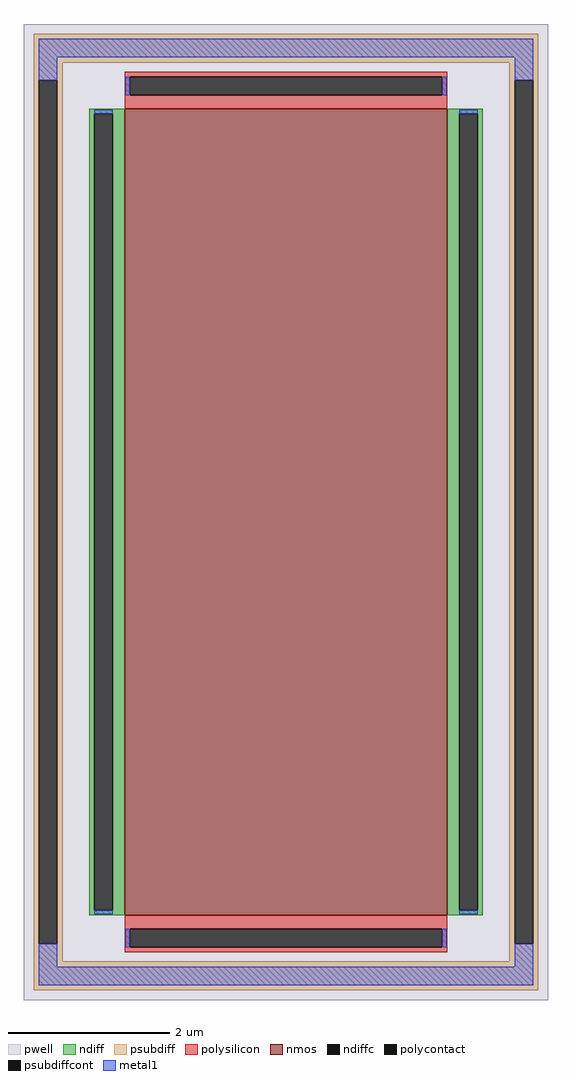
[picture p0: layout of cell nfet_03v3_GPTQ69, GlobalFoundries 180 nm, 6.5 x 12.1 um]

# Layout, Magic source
magic
tech gf180mcuD
magscale 1 10
<< pwell >>
rect -650 -1210 650 1210
<< nmos >>
rect -400 -1000 400 1000
<< ndiff >>
rect -488 987 -400 1000
rect -488 -987 -475 987
rect -429 -987 -400 987
rect -488 -1000 -400 -987
rect 400 987 488 1000
rect 400 -987 429 987
rect 475 -987 488 987
rect 400 -1000 488 -987
<< ndiffc >>
rect -475 -987 -429 987
rect 429 -987 475 987
<< psubdiff >>
rect -626 1114 626 1186
rect -626 1070 -554 1114
rect -626 -1070 -613 1070
rect -567 -1070 -554 1070
rect 554 1070 626 1114
rect -626 -1114 -554 -1070
rect 554 -1070 567 1070
rect 613 -1070 626 1070
rect 554 -1114 626 -1070
rect -626 -1186 626 -1114
<< psubdiffcont >>
rect -613 -1070 -567 1070
rect 567 -1070 613 1070
<< polysilicon >>
rect -400 1079 400 1092
rect -400 1033 -387 1079
rect 387 1033 400 1079
rect -400 1000 400 1033
rect -400 -1033 400 -1000
rect -400 -1079 -387 -1033
rect 387 -1079 400 -1033
rect -400 -1092 400 -1079
<< polycontact >>
rect -387 1033 387 1079
rect -387 -1079 387 -1033
<< metal1 >>
rect -613 1127 613 1173
rect -613 1070 -567 1127
rect -398 1033 -387 1079
rect 387 1033 398 1079
rect 567 1070 613 1127
rect -475 987 -429 998
rect -475 -998 -429 -987
rect 429 987 475 998
rect 429 -998 475 -987
rect -613 -1127 -567 -1070
rect -398 -1079 -387 -1033
rect 387 -1079 398 -1033
rect 567 -1127 613 -1070
rect -613 -1173 613 -1127
<< properties >>
string FIXED_BBOX -590 -1150 590 1150
string gencell nfet_03v3
string library gf180mcu
string parameters w 10 l 4 m 1 nf 1 diffcov 100 polycov 100 guard 1 glc 1 grc 1 gtc 0 gbc 0 tbcov 100 rlcov 100 topc 1 botc 1 poverlap 0 doverlap 1 lmin 0.28 wmin 0.22 class mosfet full_metal 1 compatible {nfet_03v3 nfet_05v0 nfet_06v0 nfet_06v0_nvt}
<< end >>
